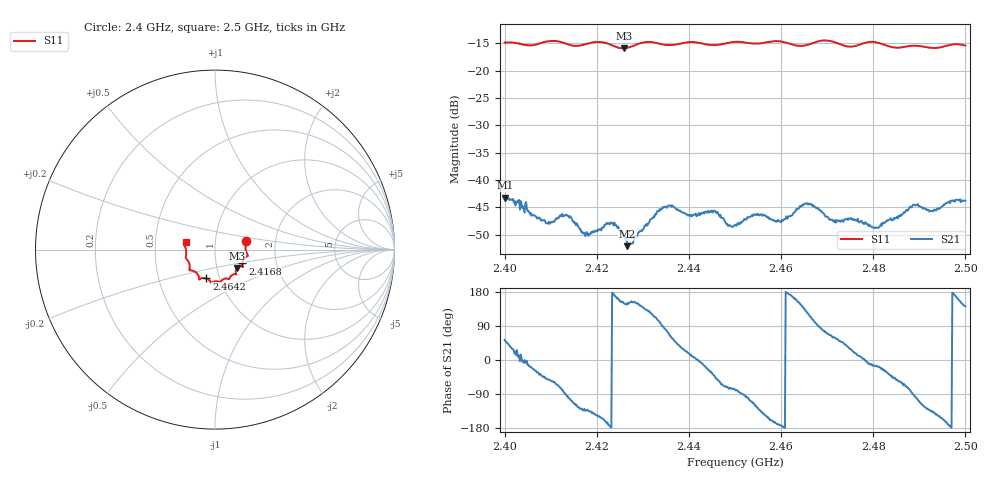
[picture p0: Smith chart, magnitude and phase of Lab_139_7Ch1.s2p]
# Hz S RI R 50
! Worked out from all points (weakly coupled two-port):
!   601 points, 2.4 GHz to 2.5 GHz, reference 50 ohm
!   highest |S21| = -43.24 dB at 2.4002 GHz (marker M1); lowest = -52.1 dB at 2.4267 GHz (marker M2)
!   lowest |S11| = -15.9 dB at 2.4258 GHz (marker M3), VSWR 1.38, Z = 62.3 - j13.2 ohm
!   |S11| at or under -10 dB: start of sweep to end of sweep
!   S12 and S22 are empty: the file has one direction only
!   S11 on the Smith chart (normalised r, x): 2.4 GHz: 1.41, +0.14; 2.4168 GHz: 1.34, -0.21; 2.4642 GHz: 0.86, -0.29; 2.5 GHz: 0.72, +0.06
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2.4e9  0.1735 0.0495  0.00408 0.00544  0 0  0 0
2.400167e9  0.1738 0.049  0.00448 0.00524  0 0  0 0
2.409333e9  0.1826 -0.0302  0.00258 -0.00312  0 0  0 0
2.413833e9  0.1672 -0.0452  -0.000841 -0.00458  0 0  0 0
2.416667e9  0.1528 -0.0749  -0.00211 -0.00259  0 0  0 0
2.416833e9  0.1528 -0.077  -0.00214 -0.0026  0 0  0 0
2.423e9  0.145 -0.0935  -0.0041 -0.00024  0 0  0 0
2.425833e9  0.1216 -0.1035  -0.00263 0.00152  0 0  0 0
2.426667e9  0.1177 -0.111  -0.00216 0.00123  0 0  0 0
2.433333e9  0.1128 -0.1367  -0.00125 0.00505  0 0  0 0
2.445167e9  0.0539 -0.1621  0.00401 -0.00307  0 0  0 0
2.45e9  0.0297 -0.1808  0.000741 -0.00383  0 0  0 0
2.4545e9  0.00604 -0.1763  -0.00242 -0.00414  0 0  0 0
2.460167e9  -0.0241 -0.1824  -0.00429 -0.000492  0 0  0 0
2.464167e9  -0.0482 -0.161  -0.00488 0.00317  0 0  0 0
2.466667e9  -0.0761 -0.1597  -0.00199 0.00551  0 0  0 0
2.471333e9  -0.087 -0.1613  0.00208 0.00362  0 0  0 0
2.480667e9  -0.1429 -0.1113  0.00352 -0.000985  0 0  0 0
2.483333e9  -0.141 -0.0894  0.00348 -0.00253  0 0  0 0
2.489167e9  -0.1626 -0.0452  -0.000892 -0.0058  0 0  0 0
2.492667e9  -0.1603 -0.0176  -0.00378 -0.00357  0 0  0 0
2.5e9  -0.164 0.0421  -0.00504 0.00404  0 0  0 0
